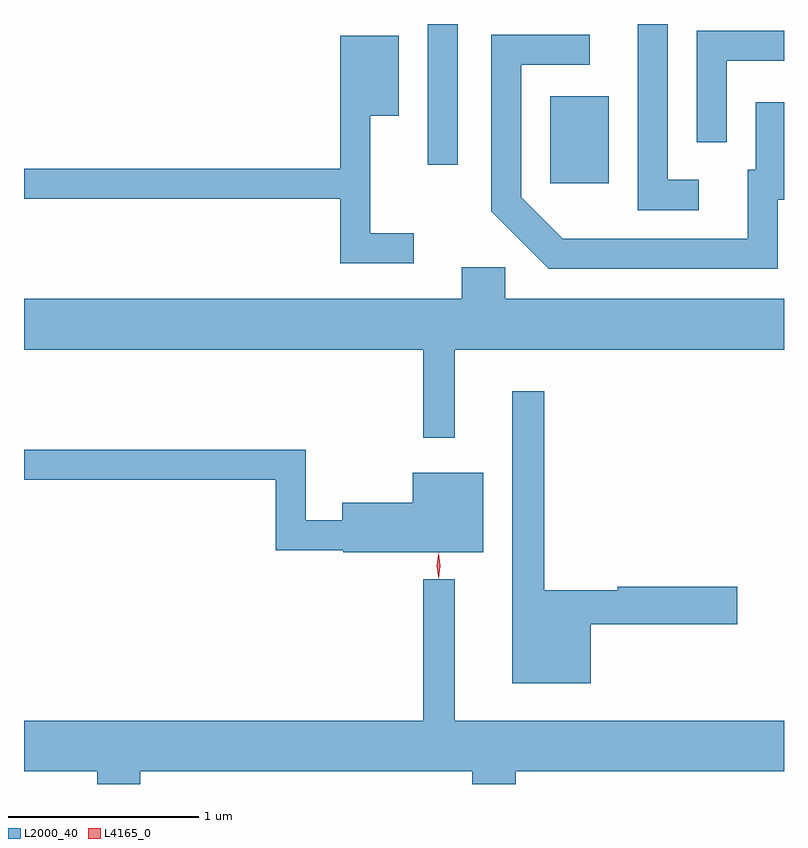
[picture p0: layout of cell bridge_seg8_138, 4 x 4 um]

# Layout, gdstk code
import gdstk
lib = gdstk.Library(unit=1e-6, precision=1e-09)
def R(c, l, rs):  # rectangles x0, y0, x1, y1
    for r in rs: c.add(gdstk.rectangle(r[:2], r[2:], *l))
def P(c, l, *ps):  # polygons
    for p in ps: c.add(gdstk.Polygon(p, *l))
L2000_40 = (2000, 40)
L4165_0 = (4165, 0)

bridge_seg8_138 = lib.new_cell('bridge_seg8_138')
R(bridge_seg8_138, L2000_40, [(1749.301,1823.971,1749.609,1824.429)])
P(bridge_seg8_138, L2000_40, [(1748.814,1824.809),(1748.815,1824.81),(1748.656,1824.81),(1748.656,1824.068),(1748.814,1824.068)],
  [(1750.083,1823.989),(1749.919,1823.989),(1749.919,1824.81),(1749.761,1824.81),(1749.761,1823.831),(1750.083,1823.831)],
  [(1750.229,1824.616),(1750.531,1824.616),(1750.531,1824.774),(1750.071,1824.774),(1750.071,1824.188),(1750.229,1824.188)],
  [(1750.499,1823.886),(1750.531,1823.886),(1750.531,1824.399),(1750.381,1824.399),(1750.381,1824.044),(1750.341,1824.044),(1750.341,1823.679),(1749.367,1823.679),(1749.149,1823.897),(1749.149,1824.596),(1749.508,1824.596),(1749.508,1824.754),(1748.991,1824.754),(1748.991,1823.824),(1749.294,1823.521),(1750.499,1823.521)],
  [(1748.583,1823.709),(1748.354,1823.709),(1748.354,1824.326),(1748.504,1824.326),(1748.504,1824.749),(1748.196,1824.749),(1748.196,1824.049),(1746.531,1824.049),(1746.531,1823.891),(1748.196,1823.891),(1748.196,1823.551),(1748.583,1823.551)],
  [(1748.799,1823.096),(1750.531,1823.096),(1750.531,1823.364),(1749.064,1823.364),(1749.064,1823.529),(1748.836,1823.529),(1748.836,1823.364),(1746.531,1823.364),(1746.531,1823.096),(1748.631,1823.096),(1748.631,1822.633),(1748.799,1822.633)],
  [(1749.514,1821.651),(1750.284,1821.651),(1750.284,1821.849),(1749.656,1821.849),(1749.656,1821.829),(1749.269,1821.829),(1749.269,1822.878),(1749.101,1822.878),(1749.101,1821.341),(1749.514,1821.341)],
  [(1748.949,1822.449),(1748.576,1822.449),(1748.576,1822.289),(1748.206,1822.289),(1748.206,1822.199),(1748.014,1822.199),(1748.014,1822.569),(1746.531,1822.569),(1746.531,1822.411),(1747.856,1822.411),(1747.856,1822.041),(1748.21,1822.041),(1748.21,1822.031),(1748.949,1822.031)],
  [(1747.144,1820.876),(1748.891,1820.876),(1748.891,1820.81),(1749.119,1820.81),(1749.119,1820.876),(1750.531,1820.876),(1750.531,1821.144),(1748.799,1821.144),(1748.799,1821.888),(1748.631,1821.888),(1748.631,1821.144),(1746.531,1821.144),(1746.531,1820.876),(1746.916,1820.876),(1746.916,1820.81),(1747.144,1820.81)])
P(bridge_seg8_138, L4165_0, [(1748.714,1821.893),(1748.713,1821.894),(1748.703,1821.956),(1748.712,1822.02),(1748.713,1822.02),(1748.713,1822.02),(1748.723,1821.957),(1748.714,1821.894)],
  [(1748.713,1821.89),(1748.704,1821.958),(1748.713,1822.025),(1748.713,1822.026),(1748.714,1822.025),(1748.723,1821.958),(1748.714,1821.89),(1748.714,1821.89)])

lib.write_gds('bridge_seg8_138.gds')
